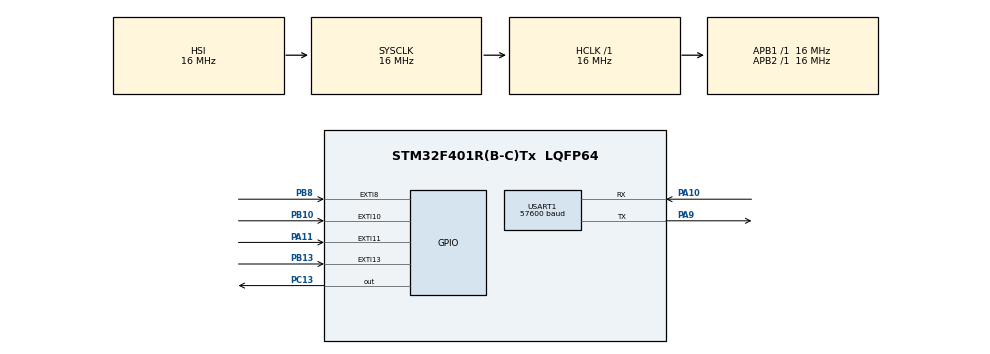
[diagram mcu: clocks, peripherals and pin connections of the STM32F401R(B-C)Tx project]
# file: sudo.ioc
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Dma.Request0=USART1_RX
Dma.Request1=USART1_TX
Dma.USART1_RX.0.Direction=DMA_PERIPH_TO_MEMORY
Dma.USART1_RX.0.FIFOMode=DMA_FIFOMODE_DISABLE
Dma.USART1_RX.0.Instance=DMA2_Stream2
Dma.USART1_RX.0.MemDataAlignment=DMA_MDATAALIGN_BYTE
Dma.USART1_RX.0.MemInc=DMA_MINC_ENABLE
Dma.USART1_RX.0.Mode=DMA_NORMAL
Dma.USART1_RX.0.PeriphDataAlignment=DMA_PDATAALIGN_BYTE
Dma.USART1_RX.0.PeriphInc=DMA_PINC_DISABLE
Dma.USART1_RX.0.Priority=DMA_PRIORITY_HIGH
Dma.USART1_TX.1.Direction=DMA_MEMORY_TO_PERIPH
Dma.USART1_TX.1.FIFOMode=DMA_FIFOMODE_DISABLE
Dma.USART1_TX.1.Instance=DMA2_Stream7
Dma.USART1_TX.1.MemDataAlignment=DMA_MDATAALIGN_BYTE
Dma.USART1_TX.1.MemInc=DMA_MINC_ENABLE
Dma.USART1_TX.1.Mode=DMA_NORMAL
Dma.USART1_TX.1.PeriphDataAlignment=DMA_PDATAALIGN_BYTE
Dma.USART1_TX.1.PeriphInc=DMA_PINC_DISABLE
Dma.USART1_TX.1.Priority=DMA_PRIORITY_HIGH
Mcu.Family=STM32F4
Mcu.Name=STM32F401R(B-C)Tx
Mcu.Package=LQFP64
NVIC.DMA2_Stream2_IRQn=true\:0\:0\:false\:false\:true\:false\:true\:true
NVIC.DMA2_Stream7_IRQn=true\:0\:0\:false\:false\:true\:false\:true\:true
NVIC.EXTI15_10_IRQn=true\:0\:0\:false\:false\:true\:true\:true\:true
NVIC.EXTI9_5_IRQn=true\:0\:0\:false\:false\:true\:true\:true\:true
NVIC.PriorityGroup=NVIC_PRIORITYGROUP_4
NVIC.USART1_IRQn=true\:0\:0\:false\:false\:true\:true\:true\:true
PA10.Mode=Asynchronous
PA10.Signal=USART1_RX
PA11.GPIO_ModeDefaultEXTI=GPIO_MODE_IT_FALLING
PA11.GPIO_PuPd=GPIO_PULLUP
PA11.Signal=GPXTI11
PA9.Mode=Asynchronous
PA9.Signal=USART1_TX
PB10.GPIO_ModeDefaultEXTI=GPIO_MODE_IT_FALLING
PB10.GPIO_PuPd=GPIO_PULLUP
PB10.Signal=GPXTI10
PB13.GPIO_ModeDefaultEXTI=GPIO_MODE_IT_FALLING
PB13.GPIO_PuPd=GPIO_PULLUP
PB13.Signal=GPXTI13
PB8.GPIO_ModeDefaultEXTI=GPIO_MODE_IT_FALLING
PB8.GPIO_PuPd=GPIO_PULLUP
PB8.Signal=GPXTI8
PC13-ANTI_TAMP.PinState=GPIO_PIN_SET
PC13-ANTI_TAMP.Signal=GPIO_Output
PC14-OSC32_IN.Mode=LSE-External-Oscillator
PC14-OSC32_IN.Signal=RCC_OSC32_IN
PC15-OSC32_OUT.Mode=LSE-External-Oscillator
PC15-OSC32_OUT.Signal=RCC_OSC32_OUT
PH0\ -\ OSC_IN.Mode=HSE-External-Oscillator
PH0\ -\ OSC_IN.Signal=RCC_OSC_IN
PH1\ -\ OSC_OUT.Mode=HSE-External-Oscillator
PH1\ -\ OSC_OUT.Signal=RCC_OSC_OUT
ProjectManager.HeapSize=0x200
ProjectManager.StackSize=0x400
ProjectManager.TargetToolchain=STM32CubeIDE
RCC.AHBFreq_Value=16000000
RCC.APB1Freq_Value=16000000
RCC.APB2Freq_Value=16000000
RCC.CortexFreq_Value=16000000
RCC.HSE_VALUE=25000000
RCC.HSI_VALUE=16000000
RCC.SYSCLKFreq_VALUE=16000000
RCC.VCOOutputFreq_Value=192000000
USART1.BaudRate=57600
USART1.VirtualMode=VM_ASYNC
board=custom

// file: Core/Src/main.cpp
/* USER CODE BEGIN Header */
/**
  ******************************************************************************
  * @file           : main.c
  * @brief          : Main program body
  ******************************************************************************
  * @attention
  *
  * Copyright (c) 2024 STMicroelectronics.
  * All rights reserved.
  *
  * This software is licensed under terms that can be found in the LICENSE file
  * in the root directory of this software component.
  * If no LICENSE file comes with this software, it is provided AS-IS.
  *
  ******************************************************************************
  */
/* USER CODE END Header */
#include "main.h"
#include "stdlib.h"
/* USER CODE BEGIN Includes */
#include "publishernode.h"
/* USER CODE END Includes */

UART_HandleTypeDef huart1;
DMA_HandleTypeDef hdma_usart1_rx;
DMA_HandleTypeDef hdma_usart1_tx;

void SystemClock_Config(void);
static void MX_GPIO_Init(void);
static void MX_DMA_Init(void);
static void MX_USART1_UART_Init(void);
/* USER CODE BEGIN PFP */
void pins_init(void);
void test_pin(void);
void ext_pin(void);
/* USER CODE END PFP */

/* USER CODE BEGIN 0 */
volatile int16_t received_value=0;
char data_read = 0;
volatile int pulses1 = 0;
volatile int16_t position1 = 0;
volatile int pulses2 = 0;
volatile int16_t position2 = 0;
volatile int16_t position3 = 0;
volatile int16_t position4 = 0;
volatile uint32_t c_millis = 0;
volatile uint32_t prev_t1 = 0;
volatile uint32_t prev_t2 = 0;
volatile uint32_t prev_t3 = 0;
volatile uint32_t prev_t4 = 0;

volatile double speed1 = 0;
volatile double speed2 = 0;
volatile double speed3 = 0;
volatile double speed4 = 0;

int16_t speeds[4];

//A0
PWM_config pwm1 = {.ch = CH1, .freq = 3500, .duty_cycle = 0};
//A1
PWM_config pwm2 = {.ch = CH2, .freq = 3500, .duty_cycle = 0};
//A2
PWM_config pwm3 = {.ch = CH3, .freq = 3500, .duty_cycle = 0};
//A3
PWM_config pwm4 = {.ch = CH4, .freq = 3500, .duty_cycle = 0};

/* USER CODE END 0 */

int main(void)
{

  /* MCU Configuration--------------------------------------------------------*/

  /* Reset of all peripherals, Initializes the Flash interface and the Systick. */
  HAL_Init();

  /* Configure the system clock */
  SystemClock_Config();

  /* Initialize all configured peripherals */
  MX_GPIO_Init();
  MX_DMA_Init();
  MX_USART1_UART_Init();
  /* USER CODE BEGIN 2 */
  setup();
  pins_init();
  ext_pin();
//  INT_GEN_ms(TIM4, 1, 16000000);
//  speeds[0] = 0;
//  speeds[1] = -10;
//  speeds[2] = 10;
//  speeds[3] = 0;
//  GPIO_Write_Pin(GPIOB, 4, GPIO_HIGH);
//  pwm4.duty_cycle = 500;
//  PWM_GEN(TIM2, &pwm4, 16000000);
  /* USER CODE END 2 */
//  pwm1.duty_cycle = 500;
//  pwm2.duty_cycle = 500;
//  pwm3.duty_cycle = 500;
//  pwm4.duty_cycle = 1000;
//  PWM_GEN(TIM2, &pwm1, 16000000);
//  PWM_GEN(TIM2, &pwm2, 16000000);
//  PWM_GEN(TIM2, &pwm3, 16000000);
//  GPIO_Write_Pin(GPIOB, 4, GPIO_HIGH);
//  PWM_GEN(TIM2, &pwm4, 16000000);
  /* Infinite loop */
  while (1)
  {

	  /* USER CODE BEGIN 3 */
	  loop();

	  /* ====================== AutoMode ===================== */
//	  if(speeds[2] < 0)
//	  {
//		  GPIO_Write_Pin(GPIOB, 1, GPIO_LOW);
//	  }
//	  else
//	  {
//		  GPIO_Write_Pin(GPIOB, 1, GPIO_HIGH);
//	  }
//	  if(speeds[0] < 0)
//	  {
//		  GPIO_Write_Pin(GPIOB, 2, GPIO_LOW);
//	  }
//	  else
//	  {
//		  GPIO_Write_Pin(GPIOB, 2, GPIO_HIGH);
//	  }
//	  if(speeds[1] > 0)
//	  {
//		  GPIO_Write_Pin(GPIOB, 3, GPIO_LOW);
//	  }
//	  else
//	  {
//		  GPIO_Write_Pin(GPIOB, 3, GPIO_HIGH);
//	  }
//	  if(speeds[3] > 0)
//	  {
//		  GPIO_Write_Pin(GPIOB, 4, GPIO_LOW);
//	  }
//	  else
//	  {
//		  GPIO_Write_Pin(GPIOB, 4, GPIO_HIGH);
//	  }
//	  pwm2.duty_cycle = abs(pid_calc1(speeds[0], (int)speed1));
//	  GPIO_Write_Pin(GPIOB, 2, GPIO_HIGH);
//	  pwm2.duty_cycle = 295;
//	  PWM_GEN(TIM2, &pwm2, 16000000);
//	  GPIO_Write_Pin(GPIOB, 1, GPIO_HIGH);
//	  pwm1.duty_cycle = 1000;
//	  pwm2.duty_cycle = 1000;
//	  pwm3.duty_cycle = 1000;
//	  pwm4.duty_cycle = 1000;
//	  pwm2.duty_cycle = abs(pid_calc2(speeds[0], (int)speed1));
//	  pwm1.duty_cycle = abs(pid_calc1(speeds[2], (int)speed3));
//	  pwm3.duty_cycle = abs(pid_calc3(speeds[1], (int)speed2));
//	  pwm4.duty_cycle = abs(pid_calc4(speeds[3], (int)speed4));
//	  for(long long int i = 0; i < 1000;i++);
//	  PWM_GEN(TIM2, &pwm4, 16000000);
//	  for(long long int i = 0; i < 1000;i++);
//	  PWM_GEN(TIM2, &pwm1, 16000000);
//	  for(long long int i = 0; i < 1000;i++);
//	  PWM_GEN(TIM2, &pwm2, 16000000);
//	  for(long long int i = 0; i < 1000;i++);
//	  PWM_GEN(TIM2, &pwm3, 16000000);
//	  pwm1.duty_cycle = 500;
//	  GPIO_Write_Pin(GPIOB, 1, GPIO_LOW);
//	  pwm1.duty_cycle = 500;
//	  pwm3.duty_cycle = abs(pid_calc3(speeds[1], (int)speed2));

//	  pwm2.duty_cycle = pid_calc(speeds[0], (int)speed1);
//	  PWM_GEN(TIM2, &pwm2, 16000000);
//	  pwm3.duty_cycle = pid_calc(speeds[1], (int)speed2);
//	  PWM_GEN(TIM2, &pwm3, 16000000);
//	  pwm4.duty_cycle = pid_calc(speeds[3], (int)speed4);
//	  PWM_GEN(TIM2, &pwm4, 16000000);

	  /* ====================== WebMode ===================== */
	  if (received_value==1){
		  pwm1.duty_cycle = 250;
		  pwm2.duty_cycle = 250;
		  pwm3.duty_cycle = 250;
		  pwm4.duty_cycle = 250;
		  forward(0, 0);
	  }
	  else if (received_value==2) {
		  pwm1.duty_cycle = 250;
		  pwm2.duty_cycle = 250;
		  pwm3.duty_cycle = 250;
		  pwm4.duty_cycle = 250;
		  backward(0, 0);
	  }
	  else if (received_value==3) {
		  pwm1.duty_cycle = 250;
		  pwm2.duty_cycle = 250;
		  pwm3.duty_cycle = 250;
		  pwm4.duty_cycle = 250;
		  side_right(0, 0);
	  }
	  else if (received_value==4) {
		  pwm1.duty_cycle = 250;
		  pwm2.duty_cycle = 250;
		  pwm3.duty_cycle = 250;
		  pwm4.duty_cycle = 250;
		  side_left(0, 0);
	  }
	  else if (received_value==5) {
		  pwm1.duty_cycle = 0;
		  pwm2.duty_cycle = 0;
		  pwm3.duty_cycle = 0;
		  pwm4.duty_cycle = 0;
		  //M1
		  PWM_GEN(TIM2, &pwm1, 16000000);
		  //M2
		  PWM_GEN(TIM2, &pwm2, 16000000);
		  //M3
		  PWM_GEN(TIM2, &pwm3, 16000000);
		  //M4
		  PWM_GEN(TIM2, &pwm4, 16000000);

		  GPIO_Write_Pin(GPIOB, 7, GPIO_LOW);
		  GPIO_Write_Pin(GPIOB, 8, GPIO_LOW);
	  }
	  else if(received_value==6)
	  {
		  pwm1.duty_cycle = 250;
		  pwm2.duty_cycle = 250;
		  pwm3.duty_cycle = 250;
		  pwm4.duty_cycle = 250;
		  rotate_left(0, 0);
	  }
	  else if(received_value==7)
	  {
		  pwm1.duty_cycle = 250;
		  pwm2.duty_cycle = 250;
		  pwm3.duty_cycle = 250;
		  pwm4.duty_cycle = 250;
		  rotate_right(0, 0);
	  }
	  else if(received_value==8)
	  {
		  pwm1.duty_cycle = 250;
		  pwm2.duty_cycle = 250;
		  pwm3.duty_cycle = 250;
		  pwm4.duty_cycle = 250;
		  diagonal_left_fw(0, 0);
	  }
	  else if(received_value==9)
	  {
		  pwm1.duty_cycle = 250;
		  pwm2.duty_cycle = 250;
		  pwm3.duty_cycle = 250;
		  pwm4.duty_cycle = 250;
		  diagonal_left_bw(0, 0);
	  }
	  else if(received_value==10)
	  {
		  pwm1.duty_cycle = 250;
		  pwm2.duty_cycle = 250;
		  pwm3.duty_cycle = 250;
		  pwm4.duty_cycle = 250;
		  diagonal_right_fw(0, 0);
	  }
	  else if(received_value==11)
	  {
		  pwm1.duty_cycle = 250;
		  pwm2.duty_cycle = 250;
		  pwm3.duty_cycle = 250;
		  pwm4.duty_cycle = 250;
		  diagonal_right_bw(0, 0);
	  }
	  else if(received_value==12)
	  {
		  GPIO_Write_Pin(GPIOB, 7, GPIO_HIGH);
		  for(int i = 0; i < 1600000;i++);
		  GPIO_Write_Pin(GPIOB, 7, GPIO_LOW);
		  received_value = 5;
	  }

  }
  /* USER CODE END 3 */
}

void SystemClock_Config(void)
{
  RCC_OscInitTypeDef RCC_OscInitStruct = {0};
  RCC_ClkInitTypeDef RCC_ClkInitStruct = {0};

  /** Configure the main internal regulator output voltage
  */
  __HAL_RCC_PWR_CLK_ENABLE();
  __HAL_PWR_VOLTAGESCALING_CONFIG(PWR_REGULATOR_VOLTAGE_SCALE2);

  /** Initializes the RCC Oscillators according to the specified parameters
  * in the RCC_OscInitTypeDef structure.
  */
  RCC_OscInitStruct.OscillatorType = RCC_OSCILLATORTYPE_HSI;
  RCC_OscInitStruct.HSIState = RCC_HSI_ON;
  RCC_OscInitStruct.HSICalibrationValue = RCC_HSICALIBRATION_DEFAULT;
  RCC_OscInitStruct.PLL.PLLState = RCC_PLL_NONE;
  if (HAL_RCC_OscConfig(&RCC_OscInitStruct) != HAL_OK)
  {
    Error_Handler();
  }

  /** Initializes the CPU, AHB and APB buses clocks
  */
  RCC_ClkInitStruct.ClockType = RCC_CLOCKTYPE_HCLK|RCC_CLOCKTYPE_SYSCLK
                              |RCC_CLOCKTYPE_PCLK1|RCC_CLOCKTYPE_PCLK2;
  RCC_ClkInitStruct.SYSCLKSource = RCC_SYSCLKSOURCE_HSI;
  RCC_ClkInitStruct.AHBCLKDivider = RCC_SYSCLK_DIV1;
  RCC_ClkInitStruct.APB1CLKDivider = RCC_HCLK_DIV1;
  RCC_ClkInitStruct.APB2CLKDivider = RCC_HCLK_DIV1;

  if (HAL_RCC_ClockConfig(&RCC_ClkInitStruct, FLASH_LATENCY_0) != HAL_OK)
  {
    Error_Handler();
  }
}

static void MX_USART1_UART_Init(void)
{

  huart1.Instance = USART1;
  huart1.Init.BaudRate = 57600;
  huart1.Init.WordLength = UART_WORDLENGTH_8B;
  huart1.Init.StopBits = UART_STOPBITS_1;
  huart1.Init.Parity = UART_PARITY_NONE;
  huart1.Init.Mode = UART_MODE_TX_RX;
  huart1.Init.HwFlowCtl = UART_HWCONTROL_NONE;
  huart1.Init.OverSampling = UART_OVERSAMPLING_16;
  if (HAL_UART_Init(&huart1) != HAL_OK)
  {
    Error_Handler();
  }

}

static void MX_DMA_Init(void)
{

  /* DMA controller clock enable */
  __HAL_RCC_DMA2_CLK_ENABLE();

  /* DMA interrupt init */
  /* DMA2_Stream2_IRQn interrupt configuration */
  HAL_NVIC_SetPriority(DMA2_Stream2_IRQn, 0, 0);
  HAL_NVIC_EnableIRQ(DMA2_Stream2_IRQn);
  /* DMA2_Stream7_IRQn interrupt configuration */
  HAL_NVIC_SetPriority(DMA2_Stream7_IRQn, 0, 0);
  HAL_NVIC_EnableIRQ(DMA2_Stream7_IRQn);

}

static void MX_GPIO_Init(void)
{
  GPIO_InitTypeDef GPIO_InitStruct = {0};

  /* GPIO Ports Clock Enable */
  __HAL_RCC_GPIOC_CLK_ENABLE();
  __HAL_RCC_GPIOH_CLK_ENABLE();
  __HAL_RCC_GPIOB_CLK_ENABLE();
  __HAL_RCC_GPIOA_CLK_ENABLE();

  /*Configure GPIO pin Output Level */
  HAL_GPIO_WritePin(GPIOC, GPIO_PIN_13, GPIO_PIN_SET);

  /*Configure GPIO pin : PC13 */
  GPIO_InitStruct.Pin = GPIO_PIN_13;
  GPIO_InitStruct.Mode = GPIO_MODE_OUTPUT_PP;
  GPIO_InitStruct.Pull = GPIO_NOPULL;
  GPIO_InitStruct.Speed = GPIO_SPEED_FREQ_LOW;
  HAL_GPIO_Init(GPIOC, &GPIO_InitStruct);

  /*Configure GPIO pins : PB10 PB13 PB8 */
  GPIO_InitStruct.Pin = GPIO_PIN_10|GPIO_PIN_13|GPIO_PIN_8;
  GPIO_InitStruct.Mode = GPIO_MODE_IT_FALLING;
  GPIO_InitStruct.Pull = GPIO_PULLUP;
  HAL_GPIO_Init(GPIOB, &GPIO_InitStruct);

  /*Configure GPIO pin : PA11 */
  GPIO_InitStruct.Pin = GPIO_PIN_11;
  GPIO_InitStruct.Mode = GPIO_MODE_IT_FALLING;
  GPIO_InitStruct.Pull = GPIO_PULLUP;
  HAL_GPIO_Init(GPIOA, &GPIO_InitStruct);

  /* EXTI interrupt init*/
  HAL_NVIC_SetPriority(EXTI9_5_IRQn, 0, 0);
  HAL_NVIC_EnableIRQ(EXTI9_5_IRQn);

  HAL_NVIC_SetPriority(EXTI15_10_IRQn, 0, 0);
  HAL_NVIC_EnableIRQ(EXTI15_10_IRQn);

}

/* USER CODE BEGIN 4 */
void HAL_GPIO_EXTI_Callback(uint16_t GPIO_Pin)
{
	if(GPIO_Pin == GPIO_PIN_8)
	{
		if(GPIO_Read_Pin(GPIOB, 9) == 0)
		{
			position1++;
			speed1 = 1000.0/(c_millis - prev_t1);
		}
		else if(GPIO_Read_Pin(GPIOB, 9) == 1)
		{
			position1--;
			speed1 = -1000.0/(c_millis - prev_t1);
		}
		prev_t1 = c_millis;
	}

	if(GPIO_Pin == GPIO_PIN_11)
	{
		if(GPIO_Read_Pin(GPIOA, 12) == 0)
		{
			position2++;
			speed2 = 1000.0/(c_millis - prev_t2);
		}
		else if(GPIO_Read_Pin(GPIOA, 12) == 1)
		{
			position2--;
			speed2 = -1000.0/(c_millis - prev_t2);
		}
		prev_t2 = c_millis;
	}
	if(GPIO_Pin == GPIO_PIN_10)
	{
		if(GPIO_Read_Pin(GPIOB, 0) == 0)
		{
			position3--;
			speed3 = -1.0*1000.0/(c_millis - prev_t3);
		}
		else if(GPIO_Read_Pin(GPIOB, 0) == 1)
		{
			position3++;
			speed3 = 1000.0/(c_millis - prev_t3);
		}
		prev_t3 = c_millis;
	}
	if(GPIO_Pin == GPIO_PIN_13)
	{
		if(GPIO_Read_Pin(GPIOB, 14) == 0)
		{
			position4--;
			speed4 = -1000.0/(c_millis - prev_t4);
		}
		else if(GPIO_Read_Pin(GPIOB, 14) == 1)
		{
			position4++;
			speed4 = 1000.0/(c_millis - prev_t4);
		}
		prev_t4 = c_millis;
	}
}

void pins_init(void)
{
	GPIOA_ENABLE();
	GPIOB_ENABLE();
	Pin_cfg direction_1 = {0};
	direction_1.Gpio = GPIOB;
	direction_1.mode = Output;
	direction_1.outSpeed = HighSpeed;
	direction_1.outType = PushPull;
	direction_1.pin_no = 1;
	direction_1.pull = None;
	GPIO_Init(&direction_1);

	Pin_cfg direction_2 = {0};
	direction_2.Gpio = GPIOB;
	direction_2.mode = Output;
	direction_2.outSpeed = HighSpeed;
	direction_2.outType = PushPull;
	direction_2.pin_no = 2;
	direction_2.pull = None;
	GPIO_Init(&direction_2);

	Pin_cfg direction_3 = {0};
	direction_3.Gpio = GPIOB;
	direction_3.mode = Output;
	direction_3.outSpeed = HighSpeed;
	direction_3.outType = PushPull;
	direction_3.pin_no = 3;
	direction_3.pull = None;
	GPIO_Init(&direction_3);

	Pin_cfg direction_4 = {0};
	direction_4.Gpio = GPIOB;
	direction_4.mode = Output;
	direction_4.outSpeed = HighSpeed;
	direction_4.outType = PushPull;
	direction_4.pin_no = 4;
	direction_4.pull = None;
	GPIO_Init(&direction_4);

	Pin_cfg arduino1 = {0};
	arduino1.Gpio = GPIOB;
	arduino1.mode = Output;
	arduino1.outSpeed = HighSpeed;
	arduino1.outType = PushPull;
	arduino1.pin_no = 7;
	arduino1.pull = None;
	GPIO_Init(&arduino1);

}

void ext_pin(void)
{
//	Pin_cfg ext_pin1 = {0};
//	ext_pin1.Gpio = GPIOB;
//	ext_pin1.mode = Input;
//	ext_pin1.pin_no = 8;
//	ext_pin1.pull = PullUp;
//	GPIO_Init(&ext_pin1);
//
//	Pin_cfg ext_pin2 = {0};
//	ext_pin2.Gpio = GPIOB;
//	ext_pin2.mode = Input;
//	ext_pin2.pin_no = 9;
//	ext_pin2.pull = PullUp;
//	GPIO_Init(&ext_pin2);

	Pin_cfg ext_pin1 = {0};
	ext_pin1.Gpio = GPIOB;
	ext_pin1.mode = Input;
	ext_pin1.pin_no = 9;
	ext_pin1.pull = PullUp;
	GPIO_Init(&ext_pin1);

	Pin_cfg ext_pin2 = {0};
	ext_pin2.Gpio = GPIOA;
	ext_pin2.mode = Input;
	ext_pin2.pin_no = 12;
    ext_pin2.pull = PullUp;
	GPIO_Init(&ext_pin2);

	Pin_cfg ext_pin3 = {0};
	ext_pin3.Gpio = GPIOB;
	ext_pin3.mode = Input;
	ext_pin3.pin_no = 0;
	ext_pin3.pull = PullUp;
	GPIO_Init(&ext_pin3);

	Pin_cfg ext_pin4 = {0};
	ext_pin4.Gpio = GPIOB;
	ext_pin4.mode = Input;
	ext_pin4.pin_no = 14;
	ext_pin4.pull = PullUp;
	GPIO_Init(&ext_pin4);
}

/* USER CODE END 4 */

void Error_Handler(void)
{
  __disable_irq();
  while (1)
  {
  }
}
